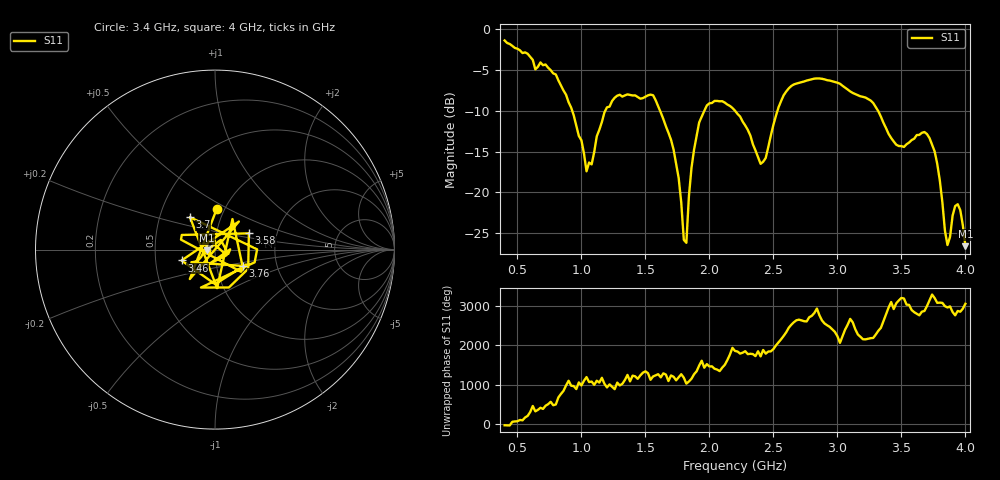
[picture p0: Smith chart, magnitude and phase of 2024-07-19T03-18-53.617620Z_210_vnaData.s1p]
!Created with skrf (http://scikit-rf.org).
# Hz S RI R 50.0
!freq ReS11 ImS11
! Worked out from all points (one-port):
!   181 points, 400 MHz to 4 GHz, reference 50 ohm
!   lowest |S11| = -26.6 dB at 4 GHz (marker M1), VSWR 1.10, Z = 45.5 - j0.351 ohm
!   |S11| at or under -10 dB: 1.615 GHz to 1.96 GHz (345 MHz wide, 19.3 % of centre); 2.201 GHz to 2.531 GHz (330.2 MHz wide, 14 % of centre); 3.318 GHz to end of sweep (the widest 3 of 4)
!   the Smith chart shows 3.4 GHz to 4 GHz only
!   S11 on the Smith chart (normalised r, x): 3.4 GHz: 0.92, +0.44; 3.46 GHz: 0.68, -0.09; 3.58 GHz: 1.44, +0.27; 3.7 GHz: 0.71, +0.27; 3.76 GHz: 1.33, -0.25; 4 GHz: 0.91, -0.01
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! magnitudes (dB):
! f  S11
! 400 MHz  -1.4
! 860 MHz  -7.5
! 1.04 GHz  -17.4
! 1.18 GHz  -10.2
! 1.3 GHz  -8.0
! 1.56 GHz  -8.1
! 1.7 GHz  -13.5
! 1.76 GHz  -18.2
! 1.8 GHz  -25.8
! 1.82 GHz  -26.2
! 1.86 GHz  -17.0
! 1.92 GHz  -11.4
! 2.04 GHz  -8.8
! 2.2 GHz  -10.0
! 2.4 GHz  -16.5
! 2.56 GHz  -8.8
! 2.66 GHz  -6.8
! 3.1 GHz  -7.6
! 3.28 GHz  -9.0
! 3.4 GHz  -12.8
! 3.46 GHz  -14.2
! 3.56 GHz  -13.9
! 3.58 GHz  -13.6
! 3.7 GHz  -12.8
! 3.76 GHz  -15.0
! 3.86 GHz  -26.5
! 3.94 GHz  -21.5
! 4 GHz  -26.6
